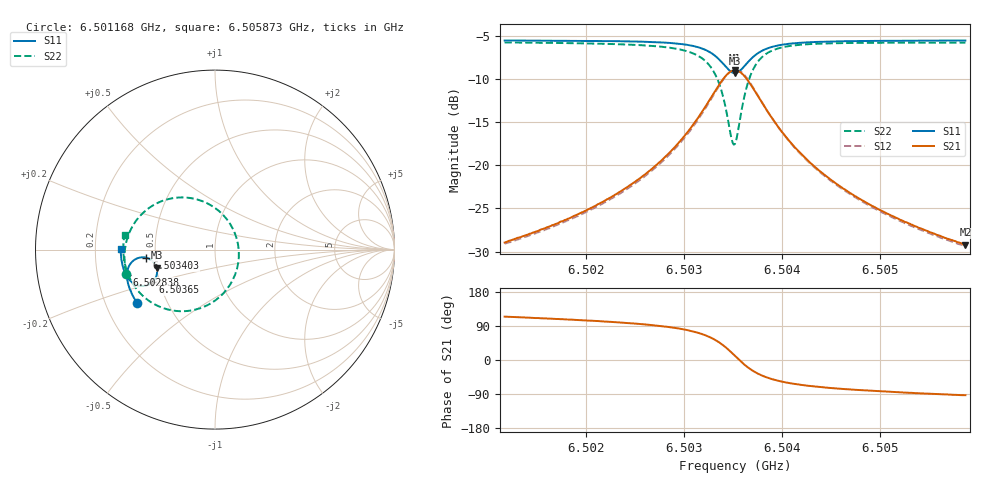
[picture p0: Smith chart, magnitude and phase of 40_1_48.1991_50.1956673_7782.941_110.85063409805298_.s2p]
#  HZ  S  RI  R  50.00
! Rohde & Schwarz Vector Network Analyzer
! Rohde-Schwarz,ZNB20-2Port,1311601062101988,3.16
! Created: UTC 3/20/2024, 11:37:49 AM
! freq[Hz]  re:S11  im:S11  re:S21  im:S21  re:S12  im:S12  re:S22  im:S22
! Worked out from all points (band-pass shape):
!   401 points, 6.501168 GHz to 6.505873 GHz, reference 50 ohm
!   highest |S21| = -9.02 dB at 6.50352 GHz (marker M1); lowest = -29.2 dB at 6.505873 GHz (marker M2)
!   |S21| within 3 dB of the highest: 6.503285 GHz to 6.503755 GHz (470.7 kHz wide, 0.00724 % of centre)
!   lowest |S11| = -9.3 dB at 6.50352 GHz (marker M3), VSWR 2.03, Z = 25 - j5.67 ohm
!   |S11| at or under -10 dB: nowhere
!   |S22| runs from -17.6 to -5.8 dB; largest |S21 - S12| = 0.012
!   S11 on the Smith chart (normalised r, x): 6.501168 GHz: 0.34, -0.27; 6.502838 GHz: 0.33, -0.12; 6.503403 GHz: 0.45, -0.05; 6.50365 GHz: 0.46, -0.20; 6.505873 GHz: 0.31, +0.00
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6.5011675e9  -0.4361 -0.295  -0.0147 0.0325  -0.0129 0.0326  -0.4952 -0.1333
6.5019557e9  -0.4685 -0.2347  -0.0139 0.0515  -0.0113 0.0509  -0.5045 -0.0454
6.5023675e9  -0.4823 -0.1969  -0.0107 0.0707  -0.00766 0.0694  -0.4996 0.0164
6.502744e9  -0.4904 -0.1533  -0.000202 0.1036  0.00333 0.1007  -0.4763 0.0971
6.5028381e9  -0.4906 -0.1399  0.00558 0.116  0.00941 0.1128  -0.4632 0.1238
6.5030381e9  -0.4847 -0.1053  0.031 0.1528  0.0345 0.1481  -0.4107 0.1949
6.5031793e9  -0.4681 -0.0746  0.0728 0.1881  0.0754 0.1818  -0.3296 0.2553
6.5033087e9  -0.4303 -0.0475  0.1537 0.2142  0.1542 0.2078  -0.1822 0.2907
6.5034028e9  -0.3817 -0.0455  0.249 0.1958  0.2491 0.1913  -0.017 0.2434
6.5034852e9  -0.3369 -0.0768  0.3299 0.1171  0.3326 0.1129  0.1119 0.0875
6.5035205e9  -0.3259 -0.1002  0.3478 0.066  0.3518 0.0604  0.1325 -0.00885
6.503544e9  -0.3229 -0.1172  0.3509 0.0298  0.3553 0.0229  0.1292 -0.0754
6.5035793e9  -0.3253 -0.1425  0.3427 -0.0222  0.3466 -0.0318  0.0995 -0.1683
6.5036499e9  -0.3486 -0.1812  0.2932 -0.1014  0.2933 -0.1136  -0.0173 -0.2959
6.503744e9  -0.3912 -0.2018  0.2114 -0.1459  0.2062 -0.1565  -0.1843 -0.3434
6.5038264e9  -0.4222 -0.2011  0.1547 -0.1506  0.1477 -0.1584  -0.2896 -0.3257
6.5039087e9  -0.4449 -0.1933  0.115 -0.143  0.1074 -0.1485  -0.3591 -0.2914
6.5040734e9  -0.4736 -0.1719  0.0676 -0.1208  0.0608 -0.1233  -0.4352 -0.2221
6.5043087e9  -0.495 -0.1422  0.0358 -0.0943  0.0308 -0.0949  -0.4806 -0.1467
6.5046499e9  -0.5105 -0.105  0.0162 -0.07  0.0128 -0.0696  -0.5036 -0.0718
6.505097e9  -0.5204 -0.0625  0.00552 -0.0515  0.00314 -0.0508  -0.5107 -0.00383
6.5058734e9  -0.526 0.0042  -0.00172 -0.0347  -0.00321 -0.0339  -0.5041 0.0822
